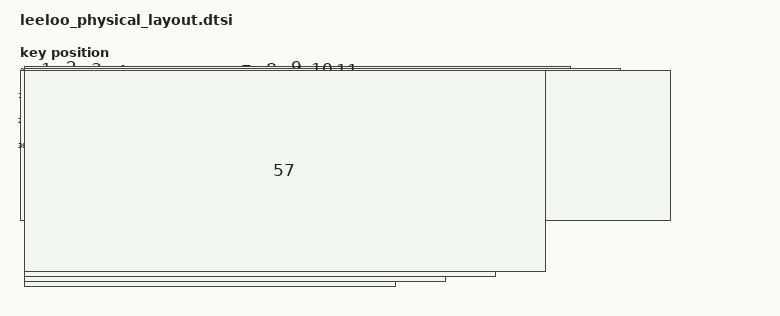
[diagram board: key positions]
/*
 * Copyright (c) 2024 The ZMK Contributors
 * SPDX-License-Identifier: MIT
 */

#include <physical_layouts.dtsi>

/ {
    leeloo_physical_layout: leeloo_physical_layout {
        compatible = "zmk,physical-layout";
        display-name = "Default Layout";
        transform = <&default_transform>;
        kscan = <&kscan0>;

        keys
            /* Row 0 */
            = <&key_physical_attrs 0 10 100 100 0 0 0> /* SW1 L */
            , <&key_physical_attrs 100 5 100 100 0 0 0> /* SW2 L */
            , <&key_physical_attrs 200 0 100 100 0 0 0> /* SW3 L */
            , <&key_physical_attrs 300 5 100 100 0 0 0> /* SW4 L */
            , <&key_physical_attrs 400 15 100 100 0 0 0> /* SW5 L */
            , <&key_physical_attrs 500 20 100 100 0 0 0> /* SW6 L */

            , <&key_physical_attrs 800 20 100 100 0 0 0> /* SW6 R */
            , <&key_physical_attrs 900 15 100 100 0 0 0> /* SW5 R */
            , <&key_physical_attrs 1000 5 100 100 0 0 0> /* SW4 R */
            , <&key_physical_attrs 1100 0 100 100 0 0 0> /* SW3 R */
            , <&key_physical_attrs 1200 5 100 100 0 0 0> /* SW2 R */
            , <&key_physical_attrs 1300 10 100 100 0 0 0> /* SW1 R */

            /* Row 1 */
            , <&key_physical_attrs 0 110 100 100 0 0 0>
            , <&key_physical_attrs 100 105 100 100 0 0 0>
            , <&key_physical_attrs 200 100 100 100 0 0 0>
            , <&key_physical_attrs 300 105 100 100 0 0 0>
            , <&key_physical_attrs 400 115 100 100 0 0 0>
            , <&key_physical_attrs 500 120 100 100 0 0 0>

            , <&key_physical_attrs 800 120 100 100 0 0 0>
            , <&key_physical_attrs 900 115 100 100 0 0 0>
            , <&key_physical_attrs 1000 105 100 100 0 0 0>
            , <&key_physical_attrs 1100 100 100 100 0 0 0>
            , <&key_physical_attrs 1200 105 100 100 0 0 0>
            , <&key_physical_attrs 1300 110 100 100 0 0 0>

            /* Row 2 */
            , <&key_physical_attrs 0 210 100 100 0 0 0>
            , <&key_physical_attrs 100 205 100 100 0 0 0>
            , <&key_physical_attrs 200 200 100 100 0 0 0>
            , <&key_physical_attrs 300 205 100 100 0 0 0>
            , <&key_physical_attrs 400 215 100 100 0 0 0>
            , <&key_physical_attrs 500 220 100 100 0 0 0>

            , <&key_physical_attrs 800 220 100 100 0 0 0>
            , <&key_physical_attrs 900 215 100 100 0 0 0>
            , <&key_physical_attrs 1000 205 100 100 0 0 0>
            , <&key_physical_attrs 1100 200 100 100 0 0 0>
            , <&key_physical_attrs 1200 205 100 100 0 0 0>
            , <&key_physical_attrs 1300 210 100 100 0 0 0>

            /* Row 3 */
            , <&key_physical_attrs 0 310 100 100 0 0 0>
            , <&key_physical_attrs 100 305 100 100 0 0 0>
            , <&key_physical_attrs 200 300 100 100 0 0 0>
            , <&key_physical_attrs 300 305 100 100 0 0 0>
            , <&key_physical_attrs 400 315 100 100 0 0 0>
            , <&key_physical_attrs 500 320 100 100 0 0 0>
            , <&key_physical_attrs 600 350 100 100 0 0 0> /* SW29 L */

            , <&key_physical_attrs 700 350 100 100 0 0 0> /* SW29 R */
            , <&key_physical_attrs 800 320 100 100 0 0 0>
            , <&key_physical_attrs 900 315 100 100 0 0 0>
            , <&key_physical_attrs 1000 305 100 100 0 0 0>
            , <&key_physical_attrs 1100 300 100 100 0 0 0>
            , <&key_physical_attrs 1200 305 100 100 0 0 0>
            , <&key_physical_attrs 1300 310 100 100 0 0 0>

            /* Row 4 (Thumb) */
            , <&key_physical_attrs 250 410 100 100 0 0 0> /* SW25 L */
            , <&key_physical_attrs 350 420 100 100 0 0 0> /* SW26 L */
            , <&key_physical_attrs 450 430 100 100 0 0 0> /* SW27 L */
            , <&key_physical_attrs 550 440 100 100 0 0 0> /* SW28 L */

            , <&key_physical_attrs 750 440 100 100 0 0 0> /* SW28 R */
            , <&key_physical_attrs 850 430 100 100 0 0 0> /* SW27 R */
            , <&key_physical_attrs 950 420 100 100 0 0 0> /* SW26 R */
            , <&key_physical_attrs 1050 410 100 100 0 0 0> /* SW25 R */
            ;
    };
};
